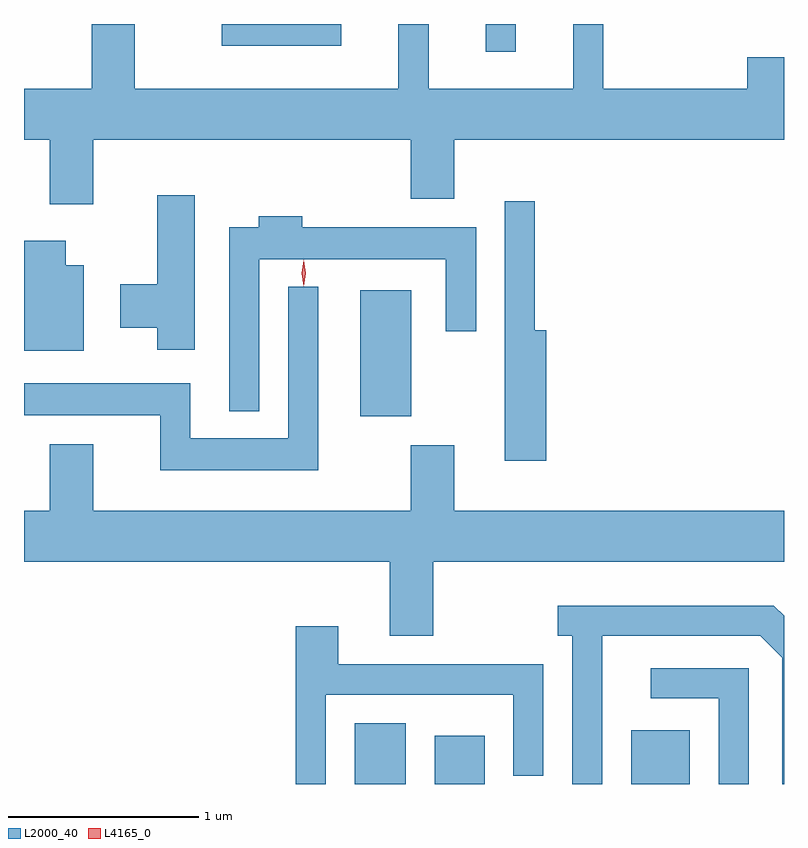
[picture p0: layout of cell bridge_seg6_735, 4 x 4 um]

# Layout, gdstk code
import gdstk
lib = gdstk.Library(unit=1e-6, precision=1e-09)
def R(c, l, rs):  # rectangles x0, y0, x1, y1
    for r in rs: c.add(gdstk.rectangle(r[:2], r[2:], *l))
def P(c, l, *ps):  # polygons
    for p in ps: c.add(gdstk.Polygon(p, *l))
L2000_40 = (2000, 40)
L4165_0 = (4165, 0)

bridge_seg6_735 = lib.new_cell('bridge_seg6_735')
R(bridge_seg6_735, L2000_40, [(502.346,1535.545,502.614,1535.864), (502.766,1535.545,503.029,1535.799), (503.801,1535.545,504.109,1535.829), (502.376,1537.481,502.644,1538.144), (503.036,1539.398,503.194,1539.545), (501.646,1539.431,502.274,1539.545)])
P(bridge_seg6_735, L2000_40, [(500.969,1538.936),(502.641,1538.936),(502.641,1538.626),(502.869,1538.626),(502.869,1538.936),(504.605,1538.936),(504.605,1539.369),(504.411,1539.369),(504.411,1539.204),(503.654,1539.204),(503.654,1539.545),(503.496,1539.545),(503.496,1539.204),(502.734,1539.204),(502.734,1539.545),(502.576,1539.545),(502.576,1539.204),(501.189,1539.204),(501.189,1539.545),(500.961,1539.545),(500.961,1539.204),(500.605,1539.204),(500.605,1538.936),(500.741,1538.936),(500.741,1538.596),(500.969,1538.596)],
  [(501.504,1538.644),(501.306,1538.644),(501.306,1538.174),(501.111,1538.174),(501.111,1537.946),(501.306,1537.946),(501.306,1537.831),(501.504,1537.831)],
  [(503.354,1537.934),(503.294,1537.934),(503.294,1538.613),(503.136,1538.613),(503.136,1537.246),(503.354,1537.246)],
  [(501.844,1538.306),(502.826,1538.306),(502.826,1537.928),(502.984,1537.928),(502.984,1538.474),(502.069,1538.474),(502.069,1538.534),(501.841,1538.534),(501.841,1538.474),(501.686,1538.474),(501.686,1537.508),(501.844,1537.508)],
  [(500.919,1538.274),(500.824,1538.274),(500.824,1538.404),(500.605,1538.404),(500.605,1537.826),(500.919,1537.826)],
  [(502.154,1538.163),(501.996,1538.163),(501.996,1537.364),(501.479,1537.364),(501.479,1537.654),(500.605,1537.654),(500.605,1537.486),(501.321,1537.486),(501.321,1537.196),(502.154,1537.196)],
  [(502.759,1536.716),(504.605,1536.716),(504.605,1536.984),(502.869,1536.984),(502.869,1537.329),(502.641,1537.329),(502.641,1536.984),(500.969,1536.984),(500.969,1537.334),(500.741,1537.334),(500.741,1536.984),(500.605,1536.984),(500.605,1536.716),(502.531,1536.716),(502.531,1536.326),(502.759,1536.326)],
  [(503.649,1536.326),(504.479,1536.326),(504.596,1536.209),(504.596,1535.545),(504.605,1535.545),(504.605,1536.431),(504.552,1536.484),(503.413,1536.484),(503.413,1536.326),(503.491,1536.326),(503.491,1535.545),(503.649,1535.545)],
  [(502.194,1536.016),(503.181,1536.016),(503.181,1535.588),(503.339,1535.588),(503.339,1536.174),(502.259,1536.174),(502.259,1536.374),(502.036,1536.374),(502.036,1535.545),(502.194,1535.545)],
  [(504.419,1536.154),(503.903,1536.154),(503.903,1535.996),(504.261,1535.996),(504.261,1535.545),(504.419,1535.545)])
P(bridge_seg6_735, L4165_0, [(502.077,1538.164),(502.077,1538.164),(502.067,1538.233),(502.077,1538.302),(502.077,1538.303),(502.078,1538.302),(502.087,1538.233),(502.078,1538.164)],
  [(502.077,1538.167),(502.077,1538.167),(502.067,1538.234),(502.077,1538.3),(502.077,1538.301),(502.078,1538.3),(502.087,1538.234),(502.078,1538.167)])

lib.write_gds('bridge_seg6_735.gds')
